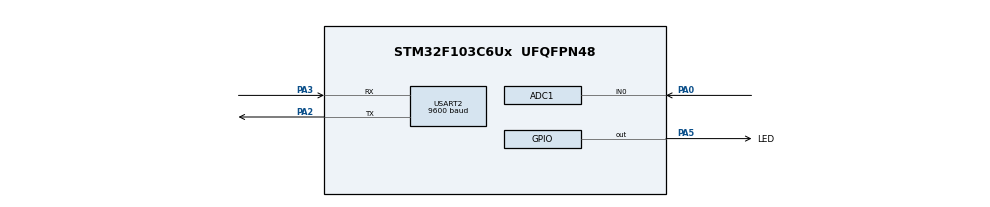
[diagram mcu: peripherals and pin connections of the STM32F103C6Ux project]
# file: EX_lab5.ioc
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ADC1.Channel-0\#ChannelRegularConversion=ADC_CHANNEL_0
ADC1.ContinuousConvMode=ENABLE
ADC1.NbrOfConversionFlag=1
ADC1.Rank-0\#ChannelRegularConversion=1
ADC1.SamplingTime-0\#ChannelRegularConversion=ADC_SAMPLETIME_1CYCLE_5
ADC1.master=1
Mcu.Family=STM32F1
Mcu.Name=STM32F103C6Ux
Mcu.Package=UFQFPN48
NVIC.PriorityGroup=NVIC_PRIORITYGROUP_4
NVIC.USART2_IRQn=true\:0\:0\:false\:false\:true\:true\:true
PA0-WKUP.Signal=ADCx_IN0
PA2.Mode=Asynchronous
PA2.Signal=USART2_TX
PA3.Mode=Asynchronous
PA3.Signal=USART2_RX
PA5.GPIO_Label=LED
PA5.Signal=GPIO_Output
ProjectManager.HeapSize=0x200
ProjectManager.StackSize=0x400
ProjectManager.TargetToolchain=STM32CubeIDE
RCC.APB1Freq_Value=8000000
RCC.APB2Freq_Value=8000000
SH.ADCx_IN0.0=ADC1_IN0,IN0
USART2.BaudRate=9600
USART2.VirtualMode=VM_ASYNC
VP_SYS_VS_ND.Mode=No_Debug
board=custom

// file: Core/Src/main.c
/* USER CODE BEGIN Header */
/**
  ******************************************************************************
  * @file           : main.c
  * @brief          : Main program body
  ******************************************************************************
  * @attention
  *
  * <h2><center>&copy; Copyright (c) 2023 STMicroelectronics.
  * All rights reserved.</center></h2>
  *
  * This software component is licensed by ST under BSD 3-Clause license,
  * the "License"; You may not use this file except in compliance with the
  * License. You may obtain a copy of the License at:
  *                        opensource.org/licenses/BSD-3-Clause
  *
  ******************************************************************************
  */
/* USER CODE END Header */
#include "main.h"
#include "stdio.h"
#include "string.h"

ADC_HandleTypeDef hadc1;

UART_HandleTypeDef huart2;

void SystemClock_Config(void);
static void MX_GPIO_Init(void);
static void MX_ADC1_Init(void);
static void MX_USART2_UART_Init(void);

/* USER CODE BEGIN 0 */
#define MAX_BUFFER_SIZE 30

uint8_t temp = 0;
uint8_t buffer[MAX_BUFFER_SIZE];
uint8_t buffer1[MAX_BUFFER_SIZE];
uint8_t index_buffer = 0;
uint8_t buffer_flag = 0;

void HAL_UART_RxCpltCallback (UART_HandleTypeDef *huart)
{
	if (huart->Instance == USART2)
	{
		HAL_UART_Transmit(&huart2, &temp, 1, 50);
		buffer[index_buffer++] = temp;
		if(index_buffer == 30)
			index_buffer = 0;
		buffer_flag = 1;
		HAL_UART_Receive_IT(&huart2, &temp, 1);
	}
}

uint8_t command_state = 0;
uint8_t command_data = 0;
int check = 0, i = 0;
char str[100];

void command_parser_fsm()
{
	if (command_data == 0 && check == 1)
	{
		memset(buffer1, '\0', strlen(buffer1));
		check = 0;
		i = 0;
	}
	uint8_t index = index_buffer - 1;
	if(index_buffer == 0)
	{
		index = 29;
	}

	buffer1[i] = buffer[index];
	if (buffer[index] == '#')
	{
		command_data = 1;
		i = -1;
	}
	i++;
}

uint8_t uart_state = 0;
int timer = 300;
uint32_t ADC_value = 0;

void uart_communiation_fsm()
{
	switch(uart_state)
	{
		case 0:
			if(command_data > 0)
			{
				uart_state = 1;
			}
			break;

		case 1:
			if (strcmp(buffer1, "!OK#") == 0)
			{
				HAL_UART_Transmit(&huart2, (void*)str, sprintf(str, "\r\n!DISCONNECTED#\r\n"), 1000);
				command_data = 0;
				uart_state = 0;
				check = 1;
				break;
			}

			ADC_value = HAL_ADC_GetValue(&hadc1);

			if (strcmp(buffer1, "!RST#") == 0)
			{
				HAL_UART_Transmit(&huart2, (void*)str, sprintf(str, "\r\n"), 1000);
				uart_state = 2;
				command_data = 0;
				check = 1;
				break;
			}

		case 2:
			HAL_UART_Transmit(&huart2, (void*)str, sprintf(str, "!ADC=%d#\r\n", ADC_value), 1000);
			uart_state = 3;
			break;

		case 3:
			if(timer > 0) timer--;
			else
			{
				timer = 300;
				uart_state = 4;
			}
			break;

		case 4:
			if (check == 0)
			{
				uart_state = 1;
			}
			else
			{
				uart_state = 2;
			}
			break;

		default:
			break;
	}
}
/* USER CODE END 0 */

int main(void)
{

  /* MCU Configuration--------------------------------------------------------*/

  /* Reset of all peripherals, Initializes the Flash interface and the Systick. */
  HAL_Init();

  /* Configure the system clock */
  SystemClock_Config();

  /* Initialize all configured peripherals */
  MX_GPIO_Init();
  MX_ADC1_Init();
  MX_USART2_UART_Init();
  /* USER CODE BEGIN 2 */
  HAL_ADC_Start(&hadc1);
  HAL_UART_Receive_IT(&huart2, &temp, 1);
  /* USER CODE END 2 */
  int counter = 0;

  /* Infinite loop */
  while (1)
  {
	  if(buffer_flag == 1)
	  {
		  command_parser_fsm();
		  buffer_flag = 0;
	  }
	  uart_communiation_fsm();
	  if (counter == 100)
	  {
		  HAL_GPIO_TogglePin(LED_GPIO_Port, LED_Pin);
		  counter = -1;
	  }
	  HAL_Delay(10);
	  counter++;
  }
}

void SystemClock_Config(void)
{
  RCC_OscInitTypeDef RCC_OscInitStruct = {0};
  RCC_ClkInitTypeDef RCC_ClkInitStruct = {0};
  RCC_PeriphCLKInitTypeDef PeriphClkInit = {0};

  /** Initializes the RCC Oscillators according to the specified parameters
  * in the RCC_OscInitTypeDef structure.
  */
  RCC_OscInitStruct.OscillatorType = RCC_OSCILLATORTYPE_HSI;
  RCC_OscInitStruct.HSIState = RCC_HSI_ON;
  RCC_OscInitStruct.HSICalibrationValue = RCC_HSICALIBRATION_DEFAULT;
  RCC_OscInitStruct.PLL.PLLState = RCC_PLL_NONE;
  if (HAL_RCC_OscConfig(&RCC_OscInitStruct) != HAL_OK)
  {
    Error_Handler();
  }
  /** Initializes the CPU, AHB and APB buses clocks
  */
  RCC_ClkInitStruct.ClockType = RCC_CLOCKTYPE_HCLK|RCC_CLOCKTYPE_SYSCLK
                              |RCC_CLOCKTYPE_PCLK1|RCC_CLOCKTYPE_PCLK2;
  RCC_ClkInitStruct.SYSCLKSource = RCC_SYSCLKSOURCE_HSI;
  RCC_ClkInitStruct.AHBCLKDivider = RCC_SYSCLK_DIV1;
  RCC_ClkInitStruct.APB1CLKDivider = RCC_HCLK_DIV1;
  RCC_ClkInitStruct.APB2CLKDivider = RCC_HCLK_DIV1;

  if (HAL_RCC_ClockConfig(&RCC_ClkInitStruct, FLASH_LATENCY_0) != HAL_OK)
  {
    Error_Handler();
  }
  PeriphClkInit.PeriphClockSelection = RCC_PERIPHCLK_ADC;
  PeriphClkInit.AdcClockSelection = RCC_ADCPCLK2_DIV2;
  if (HAL_RCCEx_PeriphCLKConfig(&PeriphClkInit) != HAL_OK)
  {
    Error_Handler();
  }
}

static void MX_ADC1_Init(void)
{

  ADC_ChannelConfTypeDef sConfig = {0};

  /** Common config
  */
  hadc1.Instance = ADC1;
  hadc1.Init.ScanConvMode = ADC_SCAN_DISABLE;
  hadc1.Init.ContinuousConvMode = ENABLE;
  hadc1.Init.DiscontinuousConvMode = DISABLE;
  hadc1.Init.ExternalTrigConv = ADC_SOFTWARE_START;
  hadc1.Init.DataAlign = ADC_DATAALIGN_RIGHT;
  hadc1.Init.NbrOfConversion = 1;
  if (HAL_ADC_Init(&hadc1) != HAL_OK)
  {
    Error_Handler();
  }
  /** Configure Regular Channel
  */
  sConfig.Channel = ADC_CHANNEL_0;
  sConfig.Rank = ADC_REGULAR_RANK_1;
  sConfig.SamplingTime = ADC_SAMPLETIME_1CYCLE_5;
  if (HAL_ADC_ConfigChannel(&hadc1, &sConfig) != HAL_OK)
  {
    Error_Handler();
  }

}

static void MX_USART2_UART_Init(void)
{

  huart2.Instance = USART2;
  huart2.Init.BaudRate = 9600;
  huart2.Init.WordLength = UART_WORDLENGTH_8B;
  huart2.Init.StopBits = UART_STOPBITS_1;
  huart2.Init.Parity = UART_PARITY_NONE;
  huart2.Init.Mode = UART_MODE_TX_RX;
  huart2.Init.HwFlowCtl = UART_HWCONTROL_NONE;
  huart2.Init.OverSampling = UART_OVERSAMPLING_16;
  if (HAL_UART_Init(&huart2) != HAL_OK)
  {
    Error_Handler();
  }

}

static void MX_GPIO_Init(void)
{
  GPIO_InitTypeDef GPIO_InitStruct = {0};

  /* GPIO Ports Clock Enable */
  __HAL_RCC_GPIOA_CLK_ENABLE();

  /*Configure GPIO pin Output Level */
  HAL_GPIO_WritePin(LED_GPIO_Port, LED_Pin, GPIO_PIN_RESET);

  /*Configure GPIO pin : LED_Pin */
  GPIO_InitStruct.Pin = LED_Pin;
  GPIO_InitStruct.Mode = GPIO_MODE_OUTPUT_PP;
  GPIO_InitStruct.Pull = GPIO_NOPULL;
  GPIO_InitStruct.Speed = GPIO_SPEED_FREQ_LOW;
  HAL_GPIO_Init(LED_GPIO_Port, &GPIO_InitStruct);

}

void Error_Handler(void)
{
  __disable_irq();
  while (1)
  {
  }
}

/************************ (C) COPYRIGHT STMicroelectronics *****END OF FILE****/
